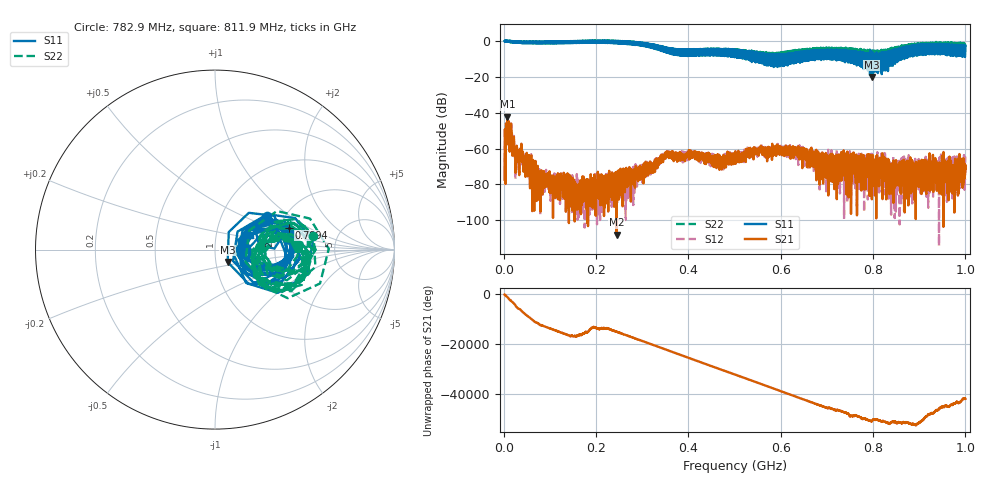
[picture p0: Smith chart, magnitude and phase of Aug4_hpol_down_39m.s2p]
!Keysight Technologies N9923A: A.12.45
!Date: Tuesday, 05 August 2025 19:03:53
!Timezone: (UTC+08:00) Kuala Lumpur, Singapore
!Model: N9923A
!Serial: MY61181427
!GPS Latitude:
!GPS Longitude:
!GPS TimeStamp: 0001-01-01 00:00:00Z
!GPS Seconds Since Last Read: 0
!CHECKSUM:0205768312
!Correction: S11(ON U)S21(ON U)S12(ON U)S22(ON U)
!S2P File: Measurements:S11,S21,S12,S22:
# Hz S DB R 50
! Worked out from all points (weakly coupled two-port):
!   4001 points, 2 MHz to 1 GHz, reference 50 ohm
!   highest |S21| = -42.30 dB at 8.238 MHz (marker M1); lowest = -108.0 dB at 244.5 MHz (marker M2)
!   lowest |S11| = -20.1 dB at 796.9 MHz (marker M3), VSWR 1.22, Z = 57 - j7.95 ohm
!   |S11| at or under -10 dB: 582.5488 MHz to 583.3418 MHz (793 kHz wide, 0.136 % of centre); 589.3076 MHz to 590.11 MHz (802.4 kHz wide, 0.136 % of centre); 596.0408 MHz to 596.8715 MHz (830.7 kHz wide, 0.139 % of centre)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
!   |S22| runs from -14.8 to 0.2 dB; largest |S21 - S12| = 0.0011
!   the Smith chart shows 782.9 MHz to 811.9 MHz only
!   S11 on the Smith chart (normalised r, x): 782.9 MHz: 1.64, +0.69; 789.4 MHz: 2.25, +0.68; 811.9 MHz: 1.46, +0.25
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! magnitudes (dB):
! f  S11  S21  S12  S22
! 2 MHz  -0.1  -77.4  -74.5  -0.1
! 8.238 MHz  0.0  -42.3  -42.0  -0.1
! 12.98 MHz  -0.3  -61.8  -62.0  -0.2
! 29.2 MHz  -1.0  -61.3  -61.9  -1.1
! 55.14 MHz  -0.4  -66.2  -65.5  -0.5
! 79.84 MHz  -1.0  -95.1  -91.1  -1.0
! 168.4 MHz  -1.2  -77.7  -84.0  -1.0
! 244.5 MHz  -0.4  -108.0  -88.6  -0.6
! 334.8 MHz  -3.8  -69.4  -67.5  -4.5
! 355.5 MHz  -4.2  -62.0  -63.8  -4.1
! 470.6 MHz  -6.0  -69.7  -66.0  -7.0
! 501 MHz  -5.7  -67.0  -64.6  -6.5
! 597.6 MHz  -8.6  -63.5  -59.2  -6.5
! 667.4 MHz  -8.6  -68.5  -67.2  -8.7
! 782.9 MHz  -9.2  -66.5  -66.6  -5.2
! 789.4 MHz  -7.4  -64.0  -67.7  -6.0
! 796.9 MHz  -20.1  -78.6  -62.9  -7.8
! 811.9 MHz  -13.5  -74.1  -67.0  -6.7
! 833.8 MHz  -10.7  -71.4  -77.7  -5.4
! 935.1 MHz  -7.2  -66.5  -82.3  -3.1
! 965.3 MHz  -7.6  -71.5  -74.6  -2.4
! 1 GHz  -2.7  -71.4  -77.2  -2.4
